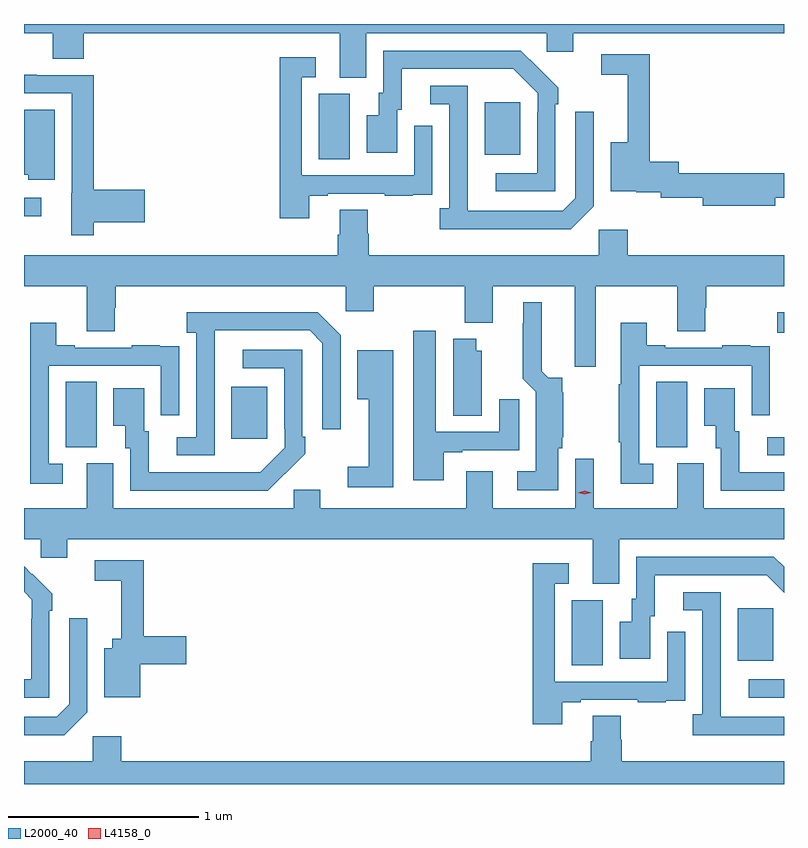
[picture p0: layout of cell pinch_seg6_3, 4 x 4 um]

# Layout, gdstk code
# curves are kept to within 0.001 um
import gdstk
lib = gdstk.Library(unit=1e-6, precision=1e-09)
def R(c, l, rs):  # rectangles x0, y0, x1, y1
    for r in rs: c.add(gdstk.rectangle(r[:2], r[2:], *l))
def P(c, l, *ps):  # polygons
    for p in ps: c.add(gdstk.Polygon(p, *l))
L2000_40 = (2000, 40)
L4158_0 = (4158, 0)

pinch_seg6_3 = lib.new_cell('pinch_seg6_3')
R(pinch_seg6_3, L2000_40, [(1082.223,994.455,1082.409,994.551), (1081.292,994.624,1081.456,994.968), (1082.165,994.649,1082.353,994.924), (1082.322,995.73,1082.409,995.826), (1078.628,995.773,1078.792,996.116), (1081.736,995.773,1081.9,996.116), (1079.501,995.817,1079.689,996.091), (1082.373,996.374,1082.409,996.484), (1078.409,996.989,1078.501,997.086), (1079.96,997.288,1080.124,997.632), (1080.833,997.313,1081.021,997.588)])
P(pinch_seg6_3, L2000_40, [(1080.211,997.952),(1081.161,997.952),(1081.161,997.854),(1081.3,997.854),(1081.3,997.952),(1082.409,997.952),(1082.409,998),(1078.409,998),(1078.409,997.952),(1078.559,997.952),(1078.559,997.816),(1078.724,997.816),(1078.724,997.952),(1080.071,997.952),(1080.071,997.717),(1080.211,997.717)],
  [(1081.206,997.577),(1081.221,997.577),(1081.221,997.665),(1081.024,997.86),(1080.3,997.86),(1080.3,997.638),(1080.275,997.638),(1080.275,997.519),(1080.212,997.519),(1080.212,997.323),(1080.373,997.323),(1080.373,997.548),(1080.397,997.548),(1080.397,997.764),(1080.985,997.764),(1081.113,997.635),(1081.113,997.535),(1081.11,997.535),(1081.11,997.215),(1080.891,997.215),(1080.891,997.119),(1081.206,997.119)],
  [(1082.362,997.086),(1082.409,997.086),(1082.409,997.214),(1081.855,997.214),(1081.855,997.274),(1081.703,997.274),(1081.703,997.842),(1081.446,997.842),(1081.446,997.734),(1081.586,997.734),(1081.586,997.378),(1081.496,997.378),(1081.496,997.121),(1081.631,997.121),(1081.631,997.114),(1081.761,997.114),(1081.761,997.086),(1081.982,997.086),(1081.982,997.043),(1082.362,997.043)],
  [(1079.911,997.095),(1080.007,997.095),(1080.007,997.107),(1080.307,997.107),(1080.307,997.095),(1080.455,997.095),(1080.455,997.101),(1080.557,997.101),(1080.557,997.21),(1080.558,997.21),(1080.558,997.465),(1080.462,997.465),(1080.462,997.203),(1079.871,997.203),(1079.871,997.719),(1079.944,997.719),(1079.944,997.825),(1079.755,997.825),(1079.755,996.978),(1079.911,996.978)],
  [(1078.775,996.956),(1079.044,996.956),(1079.044,997.127),(1078.775,997.127),(1078.775,997.731),(1078.475,997.731),(1078.475,997.734),(1078.409,997.734),(1078.409,997.635),(1078.659,997.635),(1078.659,997.11),(1078.658,997.11),(1078.658,996.888),(1078.775,996.888)],
  [(1081.407,997.041),(1081.407,997.537),(1081.311,997.537),(1081.311,997.083),(1081.245,997.017),(1080.745,997.017),(1080.744,997.674),(1080.546,997.674),(1080.546,997.578),(1080.648,997.578),(1080.648,997.03),(1080.597,997.03),(1080.597,996.92),(1081.286,996.92)],
  [(1078.57,997.55),(1078.409,997.55),(1078.409,997.206),(1078.431,997.206),(1078.431,997.179),(1078.57,997.179)],
  [(1081.417,996.62),(1081.847,996.62),(1081.847,996.382),(1081.995,996.382),(1081.995,996.507),(1082,996.507),(1082,996.62),(1082.409,996.62),(1082.409,996.784),(1081.586,996.784),(1081.586,996.916),(1081.434,996.916),(1081.434,996.784),(1080.224,996.784),(1080.224,996.897),(1080.219,996.897),(1080.219,997.022),(1080.071,997.022),(1080.071,996.89),(1080.059,996.89),(1080.059,996.784),(1078.409,996.784),(1078.409,996.62),(1078.739,996.62),(1078.739,996.382),(1078.887,996.382),(1078.887,996.507),(1078.892,996.507),(1078.892,996.62),(1080.102,996.62),(1080.102,996.489),(1080.249,996.489),(1080.249,996.62),(1080.73,996.62),(1080.73,996.428),(1080.877,996.428),(1080.877,996.62),(1081.307,996.62),(1081.307,996.195),(1081.417,996.195)],
  [(1081.222,995.766),(1081.242,995.766),(1081.242,995.826),(1081.248,995.826),(1081.248,996.058),(1081.242,996.064),(1081.242,996.138),(1081.168,996.138),(1081.135,996.172),(1081.135,996.535),(1081.037,996.535),(1081.037,996.425),(1081.033,996.425),(1081.033,996.134),(1081.103,996.064),(1081.103,995.647),(1081.005,995.647),(1081.005,995.546),(1081.222,995.546)],
  [(1079.412,996.187),(1079.413,996.387),(1079.913,996.387),(1079.979,996.321),(1079.979,995.868),(1080.075,995.868),(1080.075,996.363),(1079.954,996.484),(1079.265,996.484),(1079.265,996.374),(1079.316,996.374),(1079.316,995.826),(1079.214,995.826),(1079.214,995.73),(1079.412,995.73)],
  [(1081.72,995.685),(1081.647,995.685),(1081.647,996.201),(1082.238,996.201),(1082.238,995.94),(1082.334,995.94),(1082.334,996.194),(1082.333,996.194),(1082.333,996.303),(1082.231,996.303),(1082.231,996.31),(1082.083,996.31),(1082.083,996.297),(1081.783,996.297),(1081.783,996.31),(1081.687,996.31),(1081.687,996.427),(1081.55,996.427),(1081.55,996.104),(1081.539,996.104),(1081.539,995.8),(1081.55,995.8),(1081.55,995.58),(1081.72,995.58)],
  [(1078.612,995.685),(1078.539,995.685),(1078.539,996.201),(1079.13,996.201),(1079.13,995.94),(1079.226,995.94),(1079.226,996.194),(1079.225,996.194),(1079.225,996.303),(1079.123,996.303),(1079.123,996.31),(1078.975,996.31),(1078.975,996.297),(1078.675,996.297),(1078.675,996.31),(1078.579,996.31),(1078.579,996.427),(1078.442,996.427),(1078.442,996.204),(1078.443,996.204),(1078.443,995.58),(1078.612,995.58)],
  [(1080.619,995.745),(1080.715,995.745),(1080.715,995.757),(1081.015,995.757),(1081.015,996.025),(1080.911,996.025),(1080.911,995.853),(1080.577,995.853),(1080.577,996.385),(1080.458,996.385),(1080.458,995.598),(1080.619,995.598)],
  [(1080.817,996.279),(1080.79,996.279),(1080.79,996.343),(1080.668,996.343),(1080.668,995.938),(1080.817,995.938)],
  [(1079.783,995.635),(1079.784,995.634),(1079.889,995.739),(1079.889,995.827),(1079.874,995.827),(1079.874,996.285),(1079.559,996.285),(1079.559,996.189),(1079.778,996.189),(1079.778,995.869),(1079.781,995.869),(1079.781,995.769),(1079.653,995.641),(1079.065,995.64),(1079.065,995.856),(1079.041,995.856),(1079.041,996.082),(1078.88,996.082),(1078.88,995.885),(1078.943,995.885),(1078.943,995.766),(1078.968,995.766),(1078.968,995.544),(1079.692,995.544)],
  [(1080.352,996.283),(1080.164,996.283),(1080.164,996.026),(1080.224,996.026),(1080.224,995.671),(1080.114,995.671),(1080.114,995.562),(1080.352,995.562)],
  [(1082.409,995.64),(1082.173,995.64),(1082.173,995.856),(1082.149,995.856),(1082.149,996.082),(1081.988,996.082),(1081.988,995.885),(1082.051,995.885),(1082.051,995.766),(1082.076,995.766),(1082.076,995.544),(1082.409,995.544)],
  [(1081.543,995.288),(1082.409,995.288),(1082.409,995.452),(1081.987,995.452),(1081.987,995.688),(1081.847,995.688),(1081.847,995.452),(1081.408,995.452),(1081.408,995.713),(1081.311,995.713),(1081.311,995.452),(1080.877,995.452),(1080.877,995.647),(1080.737,995.647),(1080.737,995.452),(1079.968,995.452),(1079.968,995.55),(1079.829,995.55),(1079.829,995.452),(1078.879,995.452),(1078.879,995.688),(1078.739,995.688),(1078.739,995.452),(1078.409,995.452),(1078.409,995.288),(1078.497,995.288),(1078.497,995.19),(1078.636,995.19),(1078.636,995.288),(1081.403,995.288),(1081.403,995.053),(1081.543,995.053)],
  [(1081.705,994.884),(1081.729,994.884),(1081.729,995.1),(1082.317,995.1),(1082.409,995.007),(1082.409,995.143),(1082.356,995.196),(1081.632,995.196),(1081.632,994.974),(1081.607,994.974),(1081.607,994.855),(1081.544,994.855),(1081.544,994.659),(1081.705,994.659)],
  [(1079.02,994.631),(1079.263,994.631),(1079.263,994.778),(1079.039,994.778),(1079.039,995.178),(1078.782,995.178),(1078.782,995.07),(1078.922,995.07),(1078.922,994.765),(1078.874,994.765),(1078.874,994.714),(1078.832,994.714),(1078.832,994.457),(1079.02,994.457)],
  [(1081.243,994.431),(1081.339,994.431),(1081.339,994.443),(1081.639,994.443),(1081.639,994.431),(1081.787,994.431),(1081.787,994.437),(1081.889,994.437),(1081.889,994.546),(1081.89,994.546),(1081.89,994.801),(1081.794,994.801),(1081.794,994.539),(1081.203,994.539),(1081.203,995.055),(1081.276,995.055),(1081.276,995.161),(1081.087,995.161),(1081.087,994.314),(1081.243,994.314)],
  [(1078.542,994.913),(1078.557,994.913),(1078.557,995.001),(1078.452,995.106),(1078.451,995.105),(1078.409,995.147),(1078.409,995.011),(1078.449,994.971),(1078.449,994.871),(1078.446,994.871),(1078.446,994.551),(1078.409,994.551),(1078.409,994.455),(1078.542,994.455)],
  [(1082.409,994.353),(1082.077,994.353),(1082.077,994.553),(1082.076,994.553),(1082.076,995.01),(1081.878,995.01),(1081.878,994.914),(1081.98,994.914),(1081.98,994.366),(1081.929,994.366),(1081.929,994.256),(1082.409,994.256)],
  [(1078.743,994.377),(1078.743,994.873),(1078.647,994.873),(1078.647,994.419),(1078.581,994.353),(1078.409,994.353),(1078.409,994.256),(1078.622,994.256)],
  [(1082.409,994.12),(1081.556,994.12),(1081.556,994.233),(1081.551,994.233),(1081.551,994.358),(1081.403,994.358),(1081.403,994.226),(1081.391,994.226),(1081.391,994.12),(1078.922,994.12),(1078.922,994.252),(1078.77,994.252),(1078.77,994.12),(1078.409,994.12),(1078.409,994),(1082.409,994)])
P(pinch_seg6_3, L4158_0, [(1081.359,995.524),(1081.323,995.534),(1081.323,995.534),(1081.323,995.534),(1081.359,995.544),(1081.394,995.534),(1081.394,995.534),(1081.394,995.534)])

lib.write_gds('pinch_seg6_3.gds')
